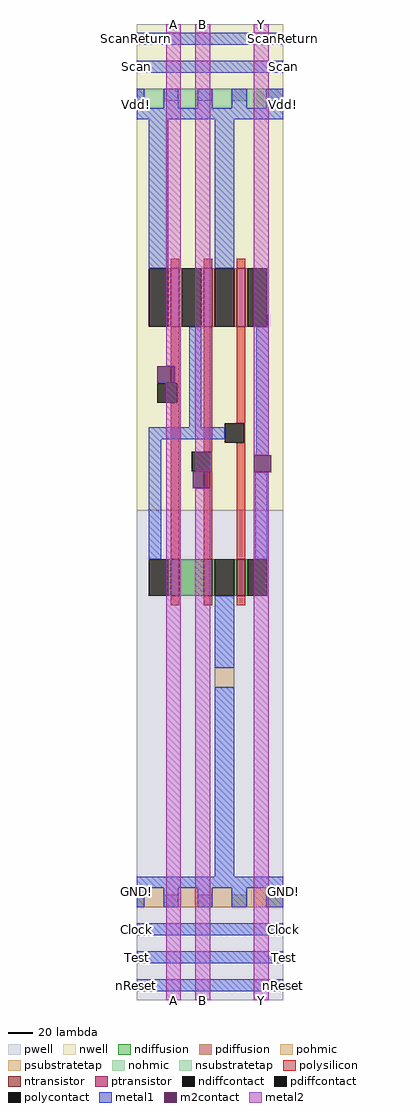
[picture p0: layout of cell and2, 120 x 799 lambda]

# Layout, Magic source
magic
tech c035u
<< nwell >>
rect 0 401 120 799
<< pwell >>
rect 0 0 120 401
<< polysilicon >>
rect 28 599 35 607
rect 55 599 62 607
rect 82 599 89 607
rect 28 505 35 551
rect 33 489 35 505
rect 28 361 35 489
rect 55 449 62 551
rect 82 472 89 551
rect 88 456 89 472
rect 61 433 62 449
rect 55 361 62 433
rect 82 361 89 456
rect 28 323 35 331
rect 55 323 62 331
rect 82 323 89 331
<< ndiffusion >>
rect 26 331 28 361
rect 35 331 55 361
rect 62 331 64 361
rect 80 331 82 361
rect 89 331 91 361
<< pdiffusion >>
rect 26 551 28 599
rect 35 551 37 599
rect 53 551 55 599
rect 62 551 64 599
rect 80 551 82 599
rect 89 551 91 599
<< pohmic >>
rect 0 76 6 86
rect 22 76 34 86
rect 50 76 62 86
rect 78 76 90 86
rect 106 76 120 86
<< nohmic >>
rect 0 736 6 746
rect 22 736 34 746
rect 50 736 62 746
rect 78 736 90 746
rect 106 736 120 746
<< ntransistor >>
rect 28 331 35 361
rect 55 331 62 361
rect 82 331 89 361
<< ptransistor >>
rect 28 551 35 599
rect 55 551 62 599
rect 82 551 89 599
<< polycontact >>
rect 17 489 33 505
rect 72 456 88 472
rect 45 433 61 449
<< ndiffcontact >>
rect 10 331 26 361
rect 64 331 80 361
rect 91 331 107 361
<< pdiffcontact >>
rect 10 551 26 599
rect 37 551 53 599
rect 64 551 80 599
rect 91 551 107 599
<< psubstratetap >>
rect 64 256 80 272
rect 6 76 22 92
rect 34 76 50 92
rect 62 76 78 92
rect 90 76 106 92
<< nsubstratetap >>
rect 6 730 22 746
rect 34 730 50 746
rect 62 730 78 746
rect 90 730 106 746
<< metal1 >>
rect 0 782 120 792
rect 0 759 120 769
rect 0 730 6 746
rect 22 730 34 746
rect 50 730 62 746
rect 78 730 90 746
rect 106 730 120 746
rect 0 721 120 730
rect 10 599 26 721
rect 64 599 80 721
rect 107 551 108 561
rect 43 469 53 551
rect 10 459 72 469
rect 10 361 20 459
rect 98 446 108 551
rect 97 361 107 432
rect 64 272 80 331
rect 64 101 80 256
rect 0 92 120 101
rect 0 76 6 92
rect 22 76 34 92
rect 50 76 62 92
rect 78 76 90 92
rect 106 76 120 92
rect 0 53 120 63
rect 0 30 120 40
rect 0 7 120 17
<< m2contact >>
rect 17 505 31 519
rect 46 419 60 433
rect 96 432 110 446
<< metal2 >>
rect 24 599 36 799
rect 24 551 37 599
rect 24 519 36 551
rect 31 505 36 519
rect 24 0 36 505
rect 48 449 60 799
rect 48 433 61 449
rect 96 446 108 799
rect 48 0 60 419
rect 96 0 108 432
<< labels >>
rlabel metal1 0 76 0 101 3 GND!
rlabel metal1 0 53 0 63 3 Clock
rlabel metal1 0 30 0 40 3 Test
rlabel metal1 0 7 0 17 2 nReset
rlabel metal1 120 76 120 101 1 GND!
rlabel metal1 120 53 120 63 7 Clock
rlabel metal1 120 30 120 40 7 Test
rlabel metal1 120 7 120 17 8 nReset
rlabel metal2 96 0 108 0 1 Y
rlabel metal2 24 0 36 0 1 A
rlabel metal2 48 0 60 0 1 B
rlabel metal1 0 782 0 792 4 ScanReturn
rlabel metal1 0 759 0 769 3 Scan
rlabel metal1 0 721 0 746 3 Vdd!
rlabel metal1 120 782 120 792 6 ScanReturn
rlabel metal1 120 759 120 769 7 Scan
rlabel metal1 120 721 120 746 7 Vdd!
rlabel metal2 24 799 36 799 5 A
rlabel metal2 48 799 60 799 5 B
rlabel metal2 96 799 108 799 5 Y
<< end >>
